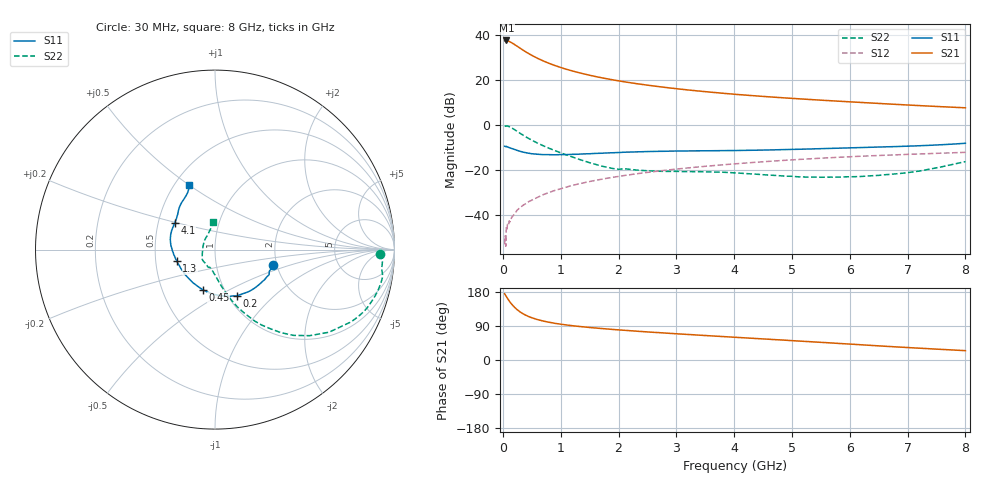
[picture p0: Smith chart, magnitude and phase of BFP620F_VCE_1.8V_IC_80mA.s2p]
! Infineon Technologies  Discrete & RF Semiconductors
! BFP620F
! VCE =  1.8 V,  IC =  80 mA
! Common Emitter S-Parameters:  Dec 2014
# GHz  S  MA  R  50
!  f  S11  S21  S12  S22
! GHz  MAG  ANG  MAG  ANG  MAG  ANG  MAG  ANG
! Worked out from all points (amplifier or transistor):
!   95 points, 30 MHz to 8 GHz, reference 50 ohm
!   highest |S21| = 37.5 dB at 60 MHz (marker M1)
!   |S21| within 3 dB of that: start of sweep to 271.8 MHz
!   unconditionally stable (mu >= 1): 1.549 GHz to end of sweep
!   at 300 MHz: K = 0.59, MSG = 35.4 dB, |S12| = -36.8 dB
!   at 3.3 GHz: K = 1.04, MAG = 15.9 dB, |S12| = -18.9 dB
!   at 8 GHz: K = 1.05, MAG = 8.5 dB, |S12| = -12.2 dB
!   S11 on the Smith chart (normalised r, x): 30 MHz: 1.91, -0.36; 200 MHz: 1.10, -0.62; 450 MHz: 0.79, -0.37; 1.3 GHz: 0.64, -0.08; 4.1 GHz: 0.61, +0.20; 8 GHz: 0.59, +0.50
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0.03  0.3336 -14.7  74.05 174.9  0.0022 101.8  0.9212 -1.4
0.05  0.3258 -21.8  75.34 169.9  0.002 67.5  0.9353 -6.7
0.06  0.3324 -25.0  75.35 167.5  0.0055 86.2  0.9465 -9.0
0.09  0.3179 -34.2  73.6 160.2  0.0058 83.4  0.9292 -16.0
0.12  0.308 -44.0  70.33 153.5  0.0069 82.0  0.8989 -22.5
0.15  0.299 -52.1  67.37 147.8  0.0087 80.0  0.8581 -28.0
0.2  0.2848 -64.5  61.39 139.4  0.0103 75.5  0.7848 -35.9
0.25  0.2695 -75.3  55.7 132.4  0.0128 73.9  0.7127 -42.3
0.3  0.2573 -84.7  50.45 126.7  0.0144 74.1  0.647 -47.6
0.35  0.2475 -93.4  45.72 121.9  0.0163 73.3  0.5886 -51.7
0.45  0.2334 -107.2  38.23 114.4  0.0197 72.3  0.495 -58.2
0.6  0.2217 -124.0  30.17 106.6  0.0244 73.2  0.3914 -65.1
0.8  0.2172 -139.4  23.3 99.6  0.0313 72.6  0.3011 -71.6
1  0.2176 -151.0  18.88 94.5  0.0378 72.3  0.239 -76.7
1.3  0.2221 -163.8  14.62 88.9  0.0481 71.4  0.1739 -84.1
1.4  0.2258 -167.0  13.59 87.3  0.0514 70.8  0.1583 -86.6
1.9  0.2394 179.5  10.03 80.7  0.0679 68.7  0.107 -103.0
2.7  0.2575 164.8  7.074 72.2  0.0941 64.0  0.0928 -127.3
4.1  0.2695 146.1  4.691 59.2  0.1383 55.0  0.0841 -148.0
5.4  0.2927 134.6  3.605 47.5  0.1781 45.7  0.0688 178.7
6.7  0.326 123.3  2.898 35.5  0.2128 36.0  0.0792 134.5
8  0.389 111.6  2.393 24.6  0.2443 26.6  0.152 94.5
